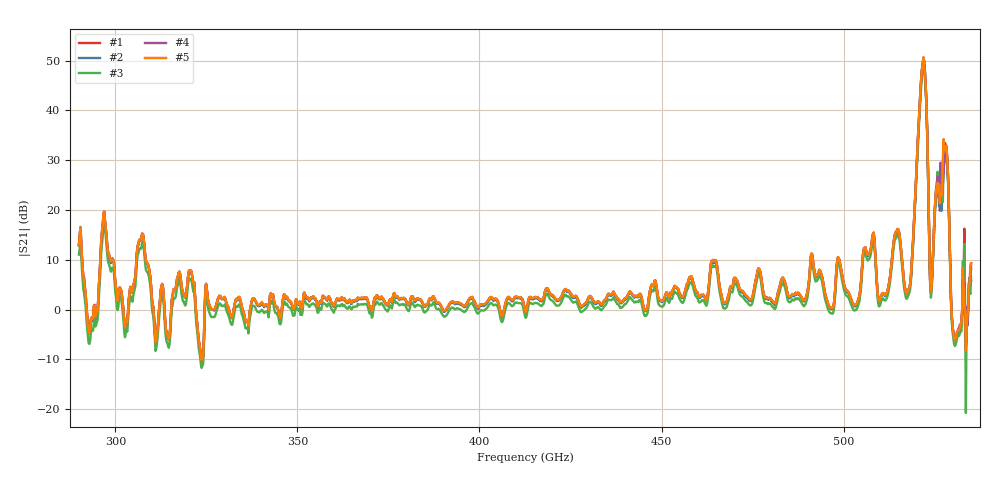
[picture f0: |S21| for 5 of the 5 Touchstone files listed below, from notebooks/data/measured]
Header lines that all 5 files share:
!Created with skrf (http://scikit-rf.org).
# GHz S RI R 50.0
!freq ReS11 ImS11 ReS21 ImS21 ReS12 ImS12 ReS22 ImS22
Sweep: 290 GHz to 535 GHz
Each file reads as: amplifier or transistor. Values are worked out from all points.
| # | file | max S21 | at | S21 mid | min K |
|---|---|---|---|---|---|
| 1 | xes.s2p | 49.9 dB | 521.9 GHz | -0.2 dB at 412.5 GHz | -5.39 |
| 2 | xqs.s2p | 50.0 dB | 522.1 GHz | -0.4 dB at 412.5 GHz | -5.00 |
| 3 | xswg1.s2p | 48.4 dB | 521.9 GHz | -1.3 dB at 412.5 GHz | -3.92 |
| 4 | xth,0.s2p | 49.6 dB | 521.9 GHz | -0.2 dB at 412.5 GHz | -3.49 |
| 5 | xth,1.s2p | 50.7 dB | 521.9 GHz | -0.1 dB at 412.5 GHz | -4.08 |
